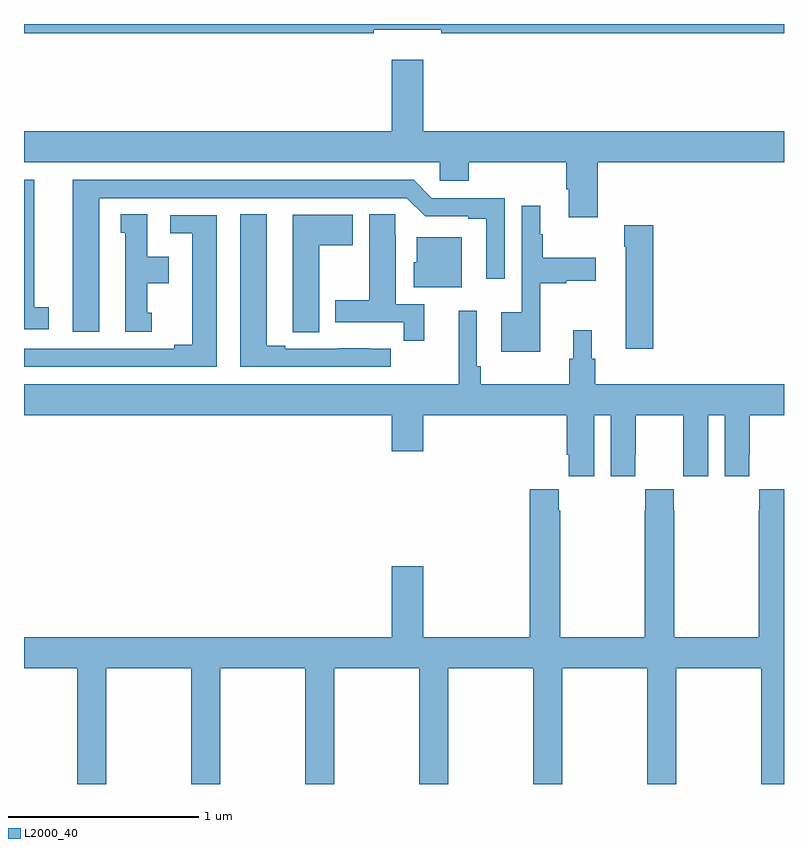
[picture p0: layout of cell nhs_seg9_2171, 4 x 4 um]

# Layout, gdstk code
import gdstk
lib = gdstk.Library(unit=1e-6, precision=1e-09)
def P(c, l, *ps):  # polygons
    for p in ps: c.add(gdstk.Polygon(p, *l))
L2000_40 = (2000, 40)

nhs_seg9_2171 = lib.new_cell('nhs_seg9_2171')
P(nhs_seg9_2171, L2000_40, [(236.84,1178.471),(237.196,1178.471),(237.196,1178.452),(239,1178.452),(239,1178.5),(235,1178.5),(235,1178.452),(236.84,1178.452)],
  [(238.019,1177.772),(239,1177.772),(239,1177.936),(237.1,1177.936),(237.1,1178.311),(236.936,1178.311),(236.936,1177.936),(235,1177.936),(235,1177.772),(237.189,1177.772),(237.189,1177.674),(237.341,1177.674),(237.341,1177.772),(237.854,1177.772),(237.854,1177.63),(237.866,1177.63),(237.866,1177.482),(238.019,1177.482)],
  [(235.129,1177.01),(235.054,1177.01),(235.054,1177.68),(235,1177.68),(235,1176.894),(235.129,1176.894)],
  [(235.396,1177.584),(237.015,1177.584),(237.111,1177.488),(237.338,1177.488),(237.338,1177.476),(237.434,1177.476),(237.434,1177.158),(237.531,1177.158),(237.531,1177.584),(237.147,1177.584),(237.051,1177.68),(235.256,1177.68),(235.256,1176.879),(235.396,1176.879)],
  [(237.718,1177.136),(237.855,1177.136),(237.855,1177.148),(238.009,1177.148),(238.009,1177.27),(237.73,1177.27),(237.73,1177.394),(237.718,1177.394),(237.718,1177.543),(237.621,1177.543),(237.621,1176.982),(237.512,1176.982),(237.512,1176.776),(237.718,1176.776)],
  [(236.929,1176.792),(236.816,1176.792),(236.816,1176.793),(236.65,1176.793),(236.65,1176.792),(236.374,1176.792),(236.374,1176.807),(236.278,1176.807),(236.278,1177.499),(236.138,1177.499),(236.138,1176.696),(236.929,1176.696)],
  [(235.672,1176.981),(235.648,1176.981),(235.648,1177.136),(235.762,1177.136),(235.762,1177.276),(235.648,1177.276),(235.648,1177.499),(235.508,1177.499),(235.508,1177.401),(235.532,1177.401),(235.532,1176.879),(235.672,1176.879)],
  [(237.107,1177.026),(236.956,1177.026),(236.956,1177.388),(236.955,1177.388),(236.955,1177.499),(236.816,1177.499),(236.816,1177.047),(236.639,1177.047),(236.639,1176.93),(236.998,1176.93),(236.998,1176.834),(237.107,1176.834)],
  [(236.554,1177.336),(236.731,1177.336),(236.731,1177.495),(236.414,1177.495),(236.414,1176.985),(236.415,1176.985),(236.415,1176.877),(236.554,1176.877)],
  [(236.014,1177.494),(235.77,1177.494),(235.77,1177.398),(235.886,1177.398),(235.886,1176.812),(235.79,1176.812),(235.79,1176.792),(235,1176.792),(235,1176.696),(236.014,1176.696)],
  [(238.313,1177.441),(238.159,1177.441),(238.159,1177.328),(238.166,1177.328),(238.166,1176.792),(238.313,1176.792)],
  [(237.304,1177.378),(237.068,1177.378),(237.068,1177.245),(237.05,1177.245),(237.05,1177.115),(237.304,1177.115)],
  [(238,1176.44),(238.088,1176.44),(238.088,1176.12),(238.218,1176.12),(238.218,1176.232),(238.219,1176.232),(238.219,1176.44),(238.469,1176.44),(238.469,1176.232),(238.47,1176.232),(238.47,1176.12),(238.6,1176.12),(238.6,1176.44),(238.688,1176.44),(238.688,1176.12),(238.818,1176.12),(238.818,1176.232),(238.819,1176.232),(238.819,1176.44),(239,1176.44),(239,1176.604),(238.007,1176.604),(238.007,1176.738),(237.988,1176.738),(237.988,1176.889),(237.89,1176.889),(237.89,1176.738),(237.871,1176.738),(237.871,1176.604),(237.404,1176.604),(237.404,1176.7),(237.384,1176.7),(237.384,1176.991),(237.287,1176.991),(237.287,1176.604),(235,1176.604),(235,1176.44),(236.936,1176.44),(236.936,1176.252),(237.1,1176.252),(237.1,1176.44),(237.857,1176.44),(237.857,1176.232),(237.866,1176.232),(237.866,1176.12),(238,1176.12)],
  [(235.434,1175.108),(235.879,1175.108),(235.879,1174.5),(236.034,1174.5),(236.034,1175.108),(236.479,1175.108),(236.479,1174.5),(236.634,1174.5),(236.634,1175.108),(237.079,1175.108),(237.079,1174.5),(237.234,1174.5),(237.234,1175.108),(237.679,1175.108),(237.679,1174.5),(237.834,1174.5),(237.834,1175.108),(238.279,1175.108),(238.279,1174.5),(238.434,1174.5),(238.434,1175.108),(238.879,1175.108),(238.879,1174.5),(239,1174.5),(239,1176.052),(238.869,1176.052),(238.869,1175.939),(238.867,1175.939),(238.867,1175.272),(238.422,1175.272),(238.422,1175.939),(238.419,1175.939),(238.419,1176.052),(238.269,1176.052),(238.269,1175.939),(238.267,1175.939),(238.267,1175.272),(237.822,1175.272),(237.822,1175.939),(237.815,1175.939),(237.815,1176.052),(237.662,1176.052),(237.662,1175.272),(237.1,1175.272),(237.1,1175.647),(236.936,1175.647),(236.936,1175.272),(235,1175.272),(235,1175.108),(235.279,1175.108),(235.279,1174.5),(235.434,1174.5)])

lib.write_gds('nhs_seg9_2171.gds')
